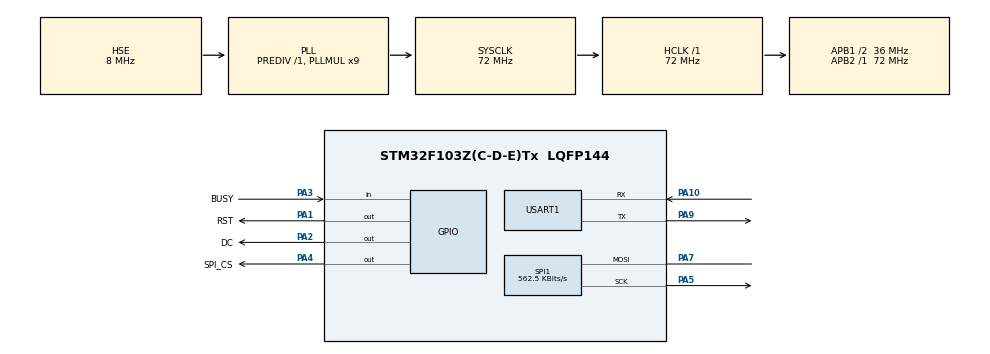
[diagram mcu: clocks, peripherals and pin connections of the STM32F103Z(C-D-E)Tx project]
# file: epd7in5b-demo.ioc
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Mcu.Family=STM32F1
Mcu.Name=STM32F103Z(C-D-E)Tx
Mcu.Package=LQFP144
NVIC.PriorityGroup=NVIC_PRIORITYGROUP_4
OSC_IN.Mode=HSE-External-Oscillator
OSC_IN.Signal=RCC_OSC_IN
OSC_OUT.Mode=HSE-External-Oscillator
OSC_OUT.Signal=RCC_OSC_OUT
PA1.GPIO_Label=RST
PA1.Signal=GPIO_Output
PA10.Mode=Asynchronous
PA10.Signal=USART1_RX
PA13.Mode=Serial_Wire
PA13.Signal=SYS_JTMS-SWDIO
PA14.Mode=Serial_Wire
PA14.Signal=SYS_JTCK-SWCLK
PA2.GPIO_Label=DC
PA2.Signal=GPIO_Output
PA3.GPIO_Label=BUSY
PA3.Signal=GPIO_Input
PA4.GPIO_Label=SPI_CS
PA4.PinState=GPIO_PIN_RESET
PA4.Signal=GPIO_Output
PA5.Mode=Simplex_Bidirectional_Master
PA5.Signal=SPI1_SCK
PA7.Mode=Simplex_Bidirectional_Master
PA7.Signal=SPI1_MOSI
PA9.Mode=Asynchronous
PA9.Signal=USART1_TX
ProjectManager.HeapSize=0xF200
ProjectManager.StackSize=0x200
ProjectManager.TargetToolchain=MDK-ARM V5
RCC.AHBFreq_Value=72000000
RCC.APB1CLKDivider=RCC_HCLK_DIV2
RCC.APB1Freq_Value=36000000
RCC.APB1TimFreq_Value=72000000
RCC.APB2Freq_Value=72000000
RCC.APB2TimFreq_Value=72000000
RCC.HCLKFreq_Value=72000000
RCC.PLLMUL=RCC_PLL_MUL9
RCC.PLLSourceVirtual=RCC_PLLSOURCE_HSE
RCC.SYSCLKFreq_VALUE=72000000
RCC.SYSCLKSource=RCC_SYSCLKSOURCE_PLLCLK
RCC.USBFreq_Value=72000000
SPI1.BaudRatePrescaler=SPI_BAUDRATEPRESCALER_128
SPI1.CLKPhase=SPI_PHASE_1EDGE
SPI1.CLKPolarity=SPI_POLARITY_LOW
SPI1.CalculateBaudRate=562.5 KBits/s
SPI1.Direction=SPI_DIRECTION_1LINE
SPI1.Mode=SPI_MODE_MASTER
SPI1.VirtualType=VM_MASTER
USART1.VirtualMode=VM_ASYNC
board=epd7in5b-demo

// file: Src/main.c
/**
  ******************************************************************************
  * File Name          : main.c
  * Description        : Main program body
  ******************************************************************************
  ** This notice applies to any and all portions of this file
  * that are not between comment pairs USER CODE BEGIN and
  * USER CODE END. Other portions of this file, whether
  * inserted by the user or by software development tools
  * are owned by their respective copyright owners.
  *
  * COPYRIGHT(c) 2017 STMicroelectronics
  *
  * Redistribution and use in source and binary forms, with or without modification,
  * are permitted provided that the following conditions are met:
  *   1. Redistributions of source code must retain the above copyright notice,
  *      this list of conditions and the following disclaimer.
  *   2. Redistributions in binary form must reproduce the above copyright notice,
  *      this list of conditions and the following disclaimer in the documentation
  *      and/or other materials provided with the distribution.
  *   3. Neither the name of STMicroelectronics nor the names of its contributors
  *      may be used to endorse or promote products derived from this software
  *      without specific prior written permission.
  *
  * THIS SOFTWARE IS PROVIDED BY THE COPYRIGHT HOLDERS AND CONTRIBUTORS "AS IS"
  * AND ANY EXPRESS OR IMPLIED WARRANTIES, INCLUDING, BUT NOT LIMITED TO, THE
  * IMPLIED WARRANTIES OF MERCHANTABILITY AND FITNESS FOR A PARTICULAR PURPOSE ARE
  * DISCLAIMED. IN NO EVENT SHALL THE COPYRIGHT HOLDER OR CONTRIBUTORS BE LIABLE
  * FOR ANY DIRECT, INDIRECT, INCIDENTAL, SPECIAL, EXEMPLARY, OR CONSEQUENTIAL
  * DAMAGES (INCLUDING, BUT NOT LIMITED TO, PROCUREMENT OF SUBSTITUTE GOODS OR
  * SERVICES; LOSS OF USE, DATA, OR PROFITS; OR BUSINESS INTERRUPTION) HOWEVER
  * CAUSED AND ON ANY THEORY OF LIABILITY, WHETHER IN CONTRACT, STRICT LIABILITY,
  * OR TORT (INCLUDING NEGLIGENCE OR OTHERWISE) ARISING IN ANY WAY OUT OF THE USE
  * OF THIS SOFTWARE, EVEN IF ADVISED OF THE POSSIBILITY OF SUCH DAMAGE.
  *
  ******************************************************************************
  */

#include "main.h"
#include "stm32f1xx_hal.h"

/* USER CODE BEGIN Includes */
#include "epd7in5b.h"
#include "epdif.h"
#include "epd7in5bpaint.h"
#include "imagedata.h"
#include <stdlib.h>
/* USER CODE END Includes */

SPI_HandleTypeDef hspi1;

UART_HandleTypeDef huart1;

/* USER CODE BEGIN PV */
/* Private variables ---------------------------------------------------------*/

/* USER CODE END PV */

void SystemClock_Config(void);
static void MX_GPIO_Init(void);
static void MX_USART1_UART_Init(void);
static void MX_SPI1_Init(void);

/* USER CODE BEGIN PFP */
/* Private function prototypes -----------------------------------------------*/

/* USER CODE END PFP */

int main(void)
{

  /* USER CODE BEGIN 1 */
  /* you have to edit the startup_stm32fxxx.s file and set a big enough heap size */
  unsigned char* frame_buffer = (unsigned char*)malloc(EPD_WIDTH * EPD_HEIGHT / 4);
  /* USER CODE END 1 */

  /* MCU Configuration----------------------------------------------------------*/

  /* Reset of all peripherals, Initializes the Flash interface and the Systick. */
  HAL_Init();

  /* Configure the system clock */
  SystemClock_Config();

  /* Initialize all configured peripherals */
  MX_GPIO_Init();
  MX_USART1_UART_Init();
  MX_SPI1_Init();

  /* USER CODE BEGIN 2 */
  EPD epd;
  if (EPD_Init(&epd) != 0) {
    printf("e-Paper init failed\n");
    return -1;
  }

  Paint paint;
  Paint_Init(&paint, frame_buffer, epd.width, epd.height);
  Paint_Clear(&paint, EPDPAINT_WHITE);

  /* Draw something to the frame_buffer */
  /* For simplicity, the arguments are explicit numerical coordinates */
  Paint_SetRotate(&paint, ROTATE_90);
  Paint_DrawRectangle(&paint, 20, 80, 180, 280, EPDPAINT_BLACK);
  Paint_DrawLine(&paint, 20, 80, 180, 280, EPDPAINT_BLACK);
  Paint_DrawLine(&paint, 180, 80, 20, 280, EPDPAINT_BLACK);
  Paint_DrawFilledRectangle(&paint, 200, 80, 360, 280, EPDPAINT_RED);
  Paint_DrawCircle(&paint, 300, 160, 60, EPDPAINT_WHITE);
  Paint_DrawFilledCircle(&paint, 90, 210, 30, EPDPAINT_RED);

  /*Write strings to the buffer */
  Paint_DrawFilledRectangle(&paint, 0, 6, 384, 30, EPDPAINT_RED);
  Paint_DrawStringAt(&paint, 100, 10, "Hello world!", &Font24, EPDPAINT_WHITE);
  Paint_DrawStringAt(&paint, 100, 40, "e-Paper Demo", &Font24, EPDPAINT_BLACK);

  /* Display the frame buffer */
  EPD_DisplayFrame(&epd, frame_buffer);

  /* Display the image buffer */
  EPD_DisplayFrame(&epd, IMAGE_DATA);
  /* USER CODE END 2 */

  /* Infinite loop */
  while (1)
  {

  }

}

/** System Clock Configuration
*/
void SystemClock_Config(void)
{

  RCC_OscInitTypeDef RCC_OscInitStruct;
  RCC_ClkInitTypeDef RCC_ClkInitStruct;

    /**Initializes the CPU, AHB and APB busses clocks
    */
  RCC_OscInitStruct.OscillatorType = RCC_OSCILLATORTYPE_HSE;
  RCC_OscInitStruct.HSEState = RCC_HSE_ON;
  RCC_OscInitStruct.HSEPredivValue = RCC_HSE_PREDIV_DIV1;
  RCC_OscInitStruct.HSIState = RCC_HSI_ON;
  RCC_OscInitStruct.PLL.PLLState = RCC_PLL_ON;
  RCC_OscInitStruct.PLL.PLLSource = RCC_PLLSOURCE_HSE;
  RCC_OscInitStruct.PLL.PLLMUL = RCC_PLL_MUL9;
  if (HAL_RCC_OscConfig(&RCC_OscInitStruct) != HAL_OK)
  {
    _Error_Handler(__FILE__, __LINE__);
  }

    /**Initializes the CPU, AHB and APB busses clocks
    */
  RCC_ClkInitStruct.ClockType = RCC_CLOCKTYPE_HCLK|RCC_CLOCKTYPE_SYSCLK
                              |RCC_CLOCKTYPE_PCLK1|RCC_CLOCKTYPE_PCLK2;
  RCC_ClkInitStruct.SYSCLKSource = RCC_SYSCLKSOURCE_PLLCLK;
  RCC_ClkInitStruct.AHBCLKDivider = RCC_SYSCLK_DIV1;
  RCC_ClkInitStruct.APB1CLKDivider = RCC_HCLK_DIV2;
  RCC_ClkInitStruct.APB2CLKDivider = RCC_HCLK_DIV1;

  if (HAL_RCC_ClockConfig(&RCC_ClkInitStruct, FLASH_LATENCY_2) != HAL_OK)
  {
    _Error_Handler(__FILE__, __LINE__);
  }

    /**Configure the Systick interrupt time
    */
  HAL_SYSTICK_Config(HAL_RCC_GetHCLKFreq()/1000);

    /**Configure the Systick
    */
  HAL_SYSTICK_CLKSourceConfig(SYSTICK_CLKSOURCE_HCLK);

  /* SysTick_IRQn interrupt configuration */
  HAL_NVIC_SetPriority(SysTick_IRQn, 0, 0);
}

/* SPI1 init function */
static void MX_SPI1_Init(void)
{

  /* SPI1 parameter configuration*/
  hspi1.Instance = SPI1;
  hspi1.Init.Mode = SPI_MODE_MASTER;
  hspi1.Init.Direction = SPI_DIRECTION_1LINE;
  hspi1.Init.DataSize = SPI_DATASIZE_8BIT;
  hspi1.Init.CLKPolarity = SPI_POLARITY_LOW;
  hspi1.Init.CLKPhase = SPI_PHASE_1EDGE;
  hspi1.Init.NSS = SPI_NSS_SOFT;
  hspi1.Init.BaudRatePrescaler = SPI_BAUDRATEPRESCALER_128;
  hspi1.Init.FirstBit = SPI_FIRSTBIT_MSB;
  hspi1.Init.TIMode = SPI_TIMODE_DISABLE;
  hspi1.Init.CRCCalculation = SPI_CRCCALCULATION_DISABLE;
  hspi1.Init.CRCPolynomial = 10;
  if (HAL_SPI_Init(&hspi1) != HAL_OK)
  {
    _Error_Handler(__FILE__, __LINE__);
  }

}

/* USART1 init function */
static void MX_USART1_UART_Init(void)
{

  huart1.Instance = USART1;
  huart1.Init.BaudRate = 115200;
  huart1.Init.WordLength = UART_WORDLENGTH_8B;
  huart1.Init.StopBits = UART_STOPBITS_1;
  huart1.Init.Parity = UART_PARITY_NONE;
  huart1.Init.Mode = UART_MODE_TX_RX;
  huart1.Init.HwFlowCtl = UART_HWCONTROL_NONE;
  huart1.Init.OverSampling = UART_OVERSAMPLING_16;
  if (HAL_UART_Init(&huart1) != HAL_OK)
  {
    _Error_Handler(__FILE__, __LINE__);
  }

}

/** Configure pins as
        * Analog
        * Input
        * Output
        * EVENT_OUT
        * EXTI
*/
static void MX_GPIO_Init(void)
{

  GPIO_InitTypeDef GPIO_InitStruct;

  /* GPIO Ports Clock Enable */
  __HAL_RCC_GPIOA_CLK_ENABLE();

  /*Configure GPIO pin Output Level */
  HAL_GPIO_WritePin(GPIOA, RST_Pin|DC_Pin|SPI_CS_Pin, GPIO_PIN_RESET);

  /*Configure GPIO pins : RST_Pin DC_Pin SPI_CS_Pin */
  GPIO_InitStruct.Pin = RST_Pin|DC_Pin|SPI_CS_Pin;
  GPIO_InitStruct.Mode = GPIO_MODE_OUTPUT_PP;
  GPIO_InitStruct.Speed = GPIO_SPEED_FREQ_LOW;
  HAL_GPIO_Init(GPIOA, &GPIO_InitStruct);

  /*Configure GPIO pin : BUSY_Pin */
  GPIO_InitStruct.Pin = BUSY_Pin;
  GPIO_InitStruct.Mode = GPIO_MODE_INPUT;
  GPIO_InitStruct.Pull = GPIO_NOPULL;
  HAL_GPIO_Init(BUSY_GPIO_Port, &GPIO_InitStruct);

}

/* USER CODE BEGIN 4 */
#ifdef __GNUC__
  /* With GCC/RAISONANCE, small printf (option LD Linker->Libraries->Small printf
     set to 'Yes') calls __io_putchar() */
  #define PUTCHAR_PROTOTYPE int __io_putchar(int ch)
#else
  #define PUTCHAR_PROTOTYPE int fputc(int ch, FILE *f)
#endif /* __GNUC__ */
/**
  * @brief  Retargets the C library printf function to the USART.
  * @param  None
  * @retval None
  */
PUTCHAR_PROTOTYPE
{
  /* Place your implementation of fputc here */
  /* e.g. write a character to the EVAL_COM1 and Loop until the end of transmission */
  HAL_UART_Transmit(&huart1, (uint8_t *)&ch, 1, 0xFFFF);

  return ch;
}
/* USER CODE END 4 */

void _Error_Handler(char * file, int line)
{
  while(1)
  {
  }
}

/************************ (C) COPYRIGHT STMicroelectronics *****END OF FILE****/
